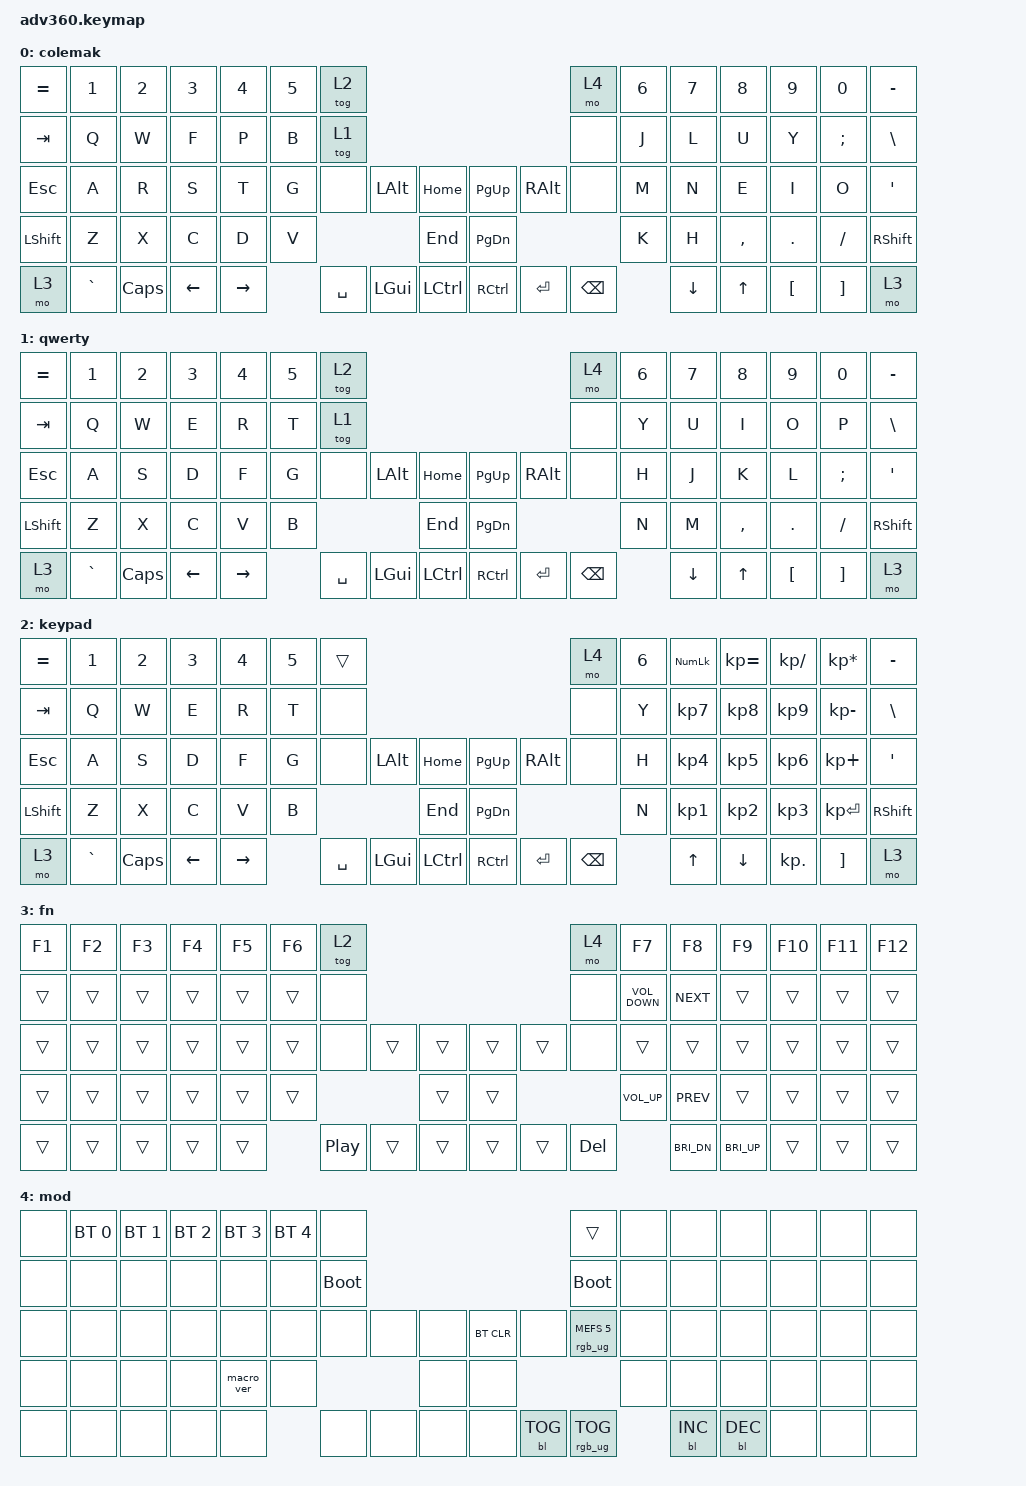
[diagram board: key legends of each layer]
#include <behaviors.dtsi>
#include <dt-bindings/zmk/keys.h>
#include <dt-bindings/zmk/bt.h>
#include <dt-bindings/zmk/rgb.h>
#include <dt-bindings/zmk/stp.h>
#include <dt-bindings/zmk/backlight.h>
#include <dt-bindings/zmk/pointing.h>

/ {
    behaviors {
        #include "macros.dtsi"
        #include "version.dtsi"

        hm: homerow_mods {
            compatible = "zmk,behavior-hold-tap";
            label = "HOMEROW_MODS";
            #binding-cells = <2>;
            tapping-term-ms = <200>;
            quick_tap_ms = <175>;
            flavor = "tap-preferred";
            bindings = <&kp>, <&kp>;
        };
    };

    macros {
    };
    keymap {
        compatible = "zmk,keymap";

        colemak {
            bindings = <
&kp EQUAL  &kp N1     &kp N2    &kp N3    &kp N4     &kp N5  &tog 2                                                    &mo 4     &kp N6  &kp N7    &kp N8     &kp N9    &kp N0         &kp MINUS
&kp TAB    &kp Q      &kp W     &kp F     &kp P      &kp B   &tog 1                                                    &none     &kp J   &kp L     &kp U      &kp Y     &kp SEMICOLON  &kp BSLH
&kp ESC    &kp A      &kp R     &kp S     &kp T      &kp G   &none      &kp LALT  &kp HOME       &kp PG_UP  &kp RALT   &none     &kp M   &kp N     &kp E      &kp I     &kp O          &kp SQT
&kp LSHFT  &kp Z      &kp X     &kp C     &kp D      &kp V                        &kp END        &kp PG_DN                       &kp K   &kp H     &kp COMMA  &kp DOT   &kp FSLH       &kp RSHFT
&mo 3      &kp GRAVE  &kp CAPS  &kp LEFT  &kp RIGHT          &kp SPACE  &kp LGUI  &kp LCTRL      &kp RCTRL  &kp ENTER  &kp BSPC          &kp DOWN  &kp UP     &kp LBKT  &kp RBKT       &mo 3
            >;
        };

        qwerty {
            bindings = <
&kp EQUAL  &kp N1     &kp N2    &kp N3    &kp N4     &kp N5  &tog 2                                                    &mo 4     &kp N6  &kp N7    &kp N8     &kp N9    &kp N0    &kp MINUS
&kp TAB    &kp Q      &kp W     &kp E     &kp R      &kp T   &tog 1                                                    &none     &kp Y   &kp U     &kp I      &kp O     &kp P     &kp BSLH
&kp ESC    &kp A      &kp S     &kp D     &kp F      &kp G   &none      &kp LALT  &kp HOME       &kp PG_UP  &kp RALT   &none     &kp H   &kp J     &kp K      &kp L     &kp SEMI  &kp SQT
&kp LSHFT  &kp Z      &kp X     &kp C     &kp V      &kp B                        &kp END        &kp PG_DN                       &kp N   &kp M     &kp COMMA  &kp DOT   &kp FSLH  &kp RSHFT
&mo 3      &kp GRAVE  &kp CAPS  &kp LEFT  &kp RIGHT          &kp SPACE  &kp LGUI  &kp LCTRL      &kp RCTRL  &kp ENTER  &kp BSPC          &kp DOWN  &kp UP     &kp LBKT  &kp RBKT  &mo 3
            >;
        };

        keypad {
            bindings = <
&kp EQUAL  &kp N1     &kp N2    &kp N3    &kp N4     &kp N5  &trans                                                    &mo 4     &kp N6  &kp KP_NUM  &kp KP_EQUAL  &kp KP_DIVIDE  &kp KP_MULTIPLY  &kp MINUS
&kp TAB    &kp Q      &kp W     &kp E     &kp R      &kp T   &none                                                     &none     &kp Y   &kp KP_N7   &kp KP_N8     &kp KP_N9      &kp KP_MINUS     &kp BSLH
&kp ESC    &kp A      &kp S     &kp D     &kp F      &kp G   &none      &kp LALT  &kp HOME       &kp PG_UP  &kp RALT   &none     &kp H   &kp KP_N4   &kp KP_N5     &kp KP_N6      &kp KP_PLUS      &kp SQT
&kp LSHFT  &kp Z      &kp X     &kp C     &kp V      &kp B                        &kp END        &kp PG_DN                       &kp N   &kp KP_N1   &kp KP_N2     &kp KP_N3      &kp KP_ENTER     &kp RSHFT
&mo 3      &kp GRAVE  &kp CAPS  &kp LEFT  &kp RIGHT          &kp SPACE  &kp LGUI  &kp LCTRL      &kp RCTRL  &kp ENTER  &kp BSPC          &kp UP      &kp DOWN      &kp KP_DOT     &kp RBKT         &mo 3
            >;
        };

        fn {
            bindings = <
&kp F1  &kp F2  &kp F3  &kp F4  &kp F5  &kp F6  &tog 2                                        &mo 4    &kp F7             &kp F8        &kp F9        &kp F10  &kp F11  &kp F12
&trans  &trans  &trans  &trans  &trans  &trans  &none                                         &none    &kp C_VOLUME_DOWN  &kp C_NEXT    &trans        &trans   &trans   &trans
&trans  &trans  &trans  &trans  &trans  &trans  &none     &trans  &trans      &trans  &trans  &none    &trans             &trans        &trans        &trans   &trans   &trans
&trans  &trans  &trans  &trans  &trans  &trans                    &trans      &trans                   &kp C_VOLUME_UP    &kp C_PREV    &trans        &trans   &trans   &trans
&trans  &trans  &trans  &trans  &trans          &kp C_PP  &trans  &trans      &trans  &trans  &kp DEL                     &kp C_BRI_DN  &kp C_BRI_UP  &trans   &trans   &trans
            >;
        };

        mod {
            bindings = <
&none  &bt BT_SEL 0  &bt BT_SEL 1  &bt BT_SEL 2  &bt BT_SEL 3  &bt BT_SEL 4  &none                                                  &trans                  &none  &none       &none       &none  &none  &none
&none  &none         &none         &none         &none         &none         &bootloader                                            &bootloader             &none  &none       &none       &none  &none  &none
&none  &none         &none         &none         &none         &none         &none        &none  &none      &bt BT_CLR  &none       &rgb_ug RGB_MEFS_CMD 5  &none  &none       &none       &none  &none  &none
&none  &none         &none         &none         &macro_ver    &none                             &none      &none                                           &none  &none       &none       &none  &none  &none
&none  &none         &none         &none         &none                       &none        &none  &none      &none       &bl BL_TOG  &rgb_ug RGB_TOG                &bl BL_INC  &bl BL_DEC  &none  &none  &none
            >;
        };
        extra1 { 
            display-name = "Red";    
            status = "reserved";
        };

        extra2 { 
            display-name = "Purple";    
            status = "reserved";
        };

        extra3 { 
            display-name = "Cyan";    
            status = "reserved";
        };

        extra4 { 
            display-name = "Yellow";    
            status = "reserved";
        };
    };
};
